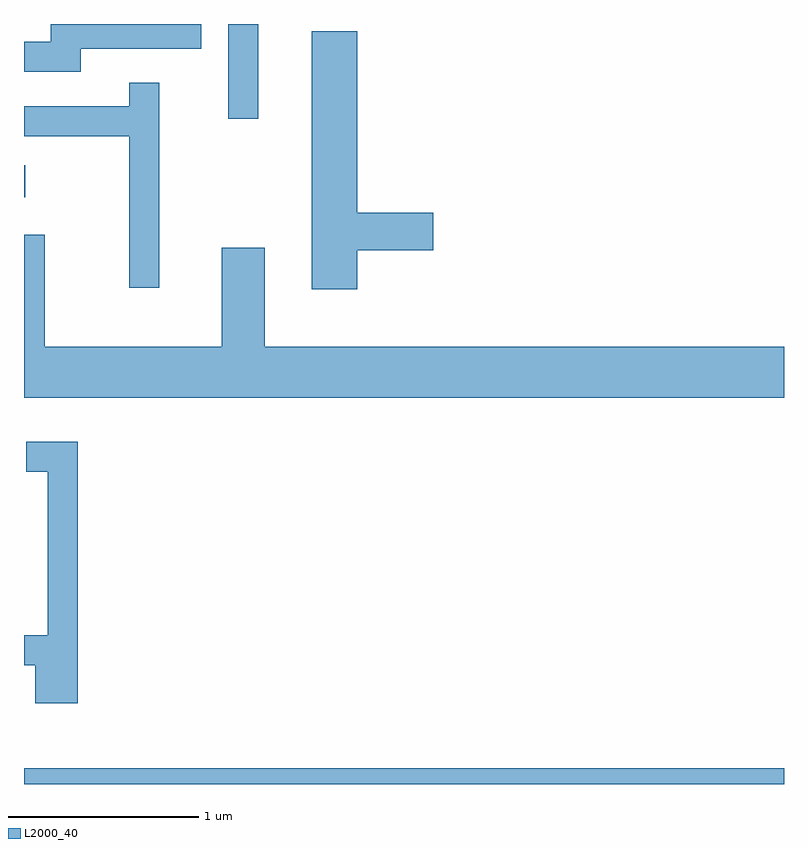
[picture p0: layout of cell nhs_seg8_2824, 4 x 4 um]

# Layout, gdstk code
import gdstk
lib = gdstk.Library(unit=1e-6, precision=1e-09)
def R(c, l, rs):  # rectangles x0, y0, x1, y1
    for r in rs: c.add(gdstk.rectangle(r[:2], r[2:], *l))
def P(c, l, *ps):  # polygons
    for p in ps: c.add(gdstk.Polygon(p, *l))
L2000_40 = (2000, 40)

nhs_seg8_2824 = lib.new_cell('nhs_seg8_2824')
R(nhs_seg8_2824, L2000_40, [(269.611,1874.342,273.611,1874.424), (269.611,1877.431,269.618,1877.599), (270.686,1877.843,270.844,1878.342)])
P(nhs_seg8_2824, L2000_40, [(269.909,1878.211),(270.543,1878.211),(270.543,1878.342),(269.751,1878.342),(269.751,1878.249),(269.611,1878.249),(269.611,1878.091),(269.909,1878.091)],
  [(271.364,1877.151),(271.764,1877.151),(271.764,1877.349),(271.364,1877.349),(271.364,1878.304),(271.126,1878.304),(271.126,1876.946),(271.364,1876.946)],
  [(270.324,1878.033),(270.166,1878.033),(270.166,1877.909),(269.611,1877.909),(269.611,1877.751),(270.166,1877.751),(270.166,1876.953),(270.324,1876.953)],
  [(273.611,1876.644),(270.879,1876.644),(270.879,1877.164),(270.651,1877.164),(270.651,1876.644),(269.719,1876.644),(269.719,1877.234),(269.611,1877.234),(269.611,1876.376),(273.611,1876.376)],
  [(269.894,1876.144),(269.623,1876.144),(269.623,1875.986),(269.736,1875.986),(269.736,1875.124),(269.611,1875.124),(269.611,1874.966),(269.671,1874.966),(269.671,1874.766),(269.894,1874.766)])

lib.write_gds('nhs_seg8_2824.gds')
